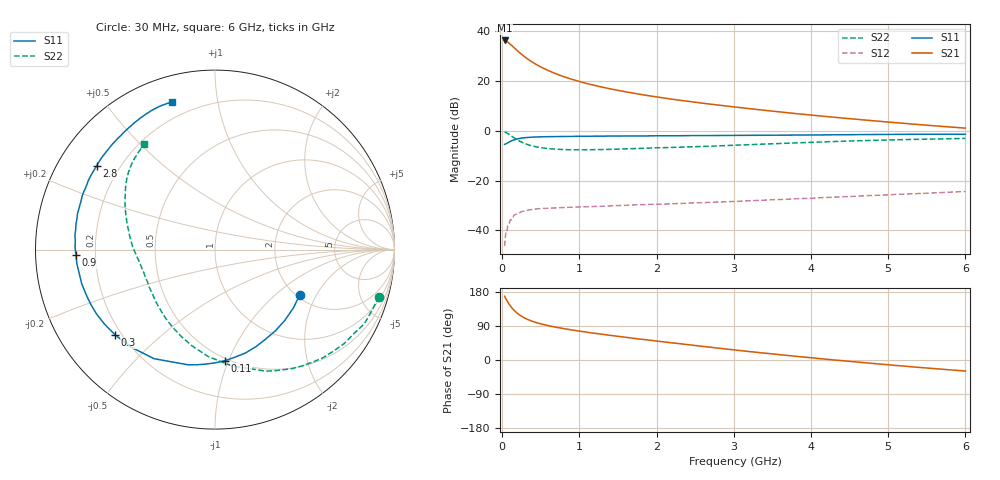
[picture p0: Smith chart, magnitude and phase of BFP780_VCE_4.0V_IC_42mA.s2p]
! Infineon Technologies  Discrete & RF Semiconductors
! BFP780
! VCE =  4.0 V,  IC =  42 mA
! Common Emitter S-Parameters:  Jul 2015
# GHz  S  MA  R  50
!  f  S11  S21  S12  S22
! GHz  MAG  ANG  MAG  ANG  MAG  ANG  MAG  ANG
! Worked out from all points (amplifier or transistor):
!   75 points, 30 MHz to 6 GHz, reference 50 ohm
!   highest |S21| = 36.4 dB at 30 MHz (marker M1)
!   |S21| within 3 dB of that: start of sweep to 156.2 MHz
!   unconditionally stable (mu >= 1): 2.038 GHz to end of sweep
!   at 150 MHz: K = 0.14, MSG = 33.8 dB, |S12| = -33.9 dB
!   at 2.3 GHz: K = 1.09, MAG = 19.0 dB, |S12| = -29.2 dB
!   at 6 GHz: K = 1.25, MAG = 9.7 dB, |S12| = -24.4 dB
!   S11 on the Smith chart (normalised r, x): 30 MHz: 2.07, -1.48; 110 MHz: 0.48, -0.97; 300 MHz: 0.18, -0.36; 900 MHz: 0.13, -0.02; 2.8 GHz: 0.12, +0.31; 6 GHz: 0.12, +0.74
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0.03  0.5352 -28.3  66.04 168.2  0.0048 71.4  0.9497 -16.0
0.05  0.5541 -45.5  63.93 160.4  0.0097 65.2  0.9287 -26.5
0.07  0.5734 -60.7  61.1 153.4  0.0122 62.1  0.8901 -36.0
0.09  0.6006 -73.7  57.83 147.0  0.0137 60.5  0.8519 -45.0
0.11  0.6218 -85.0  54.33 141.2  0.0159 51.6  0.8098 -53.2
0.13  0.6408 -95.0  50.99 136.1  0.0184 51.2  0.7682 -60.7
0.15  0.6592 -103.3  47.71 131.6  0.0201 46.9  0.7334 -67.4
0.2  0.6963 -119.2  40.46 122.4  0.0219 38.0  0.6533 -82.0
0.25  0.7167 -130.7  34.76 115.3  0.0237 34.3  0.5961 -93.8
0.3  0.7317 -139.4  30.15 109.7  0.0249 29.8  0.5502 -103.7
0.4  0.7509 -151.4  23.62 101.4  0.0264 25.2  0.493 -118.6
0.5  0.7593 -159.5  19.3 95.4  0.0274 22.2  0.4597 -129.5
0.7  0.7683 -170.3  14 86.3  0.0283 19.7  0.4273 -144.6
0.9  0.7751 -177.7  10.94 79.3  0.0292 18.4  0.4167 -154.5
1.1  0.7798 176.5  8.945 73.2  0.0298 18.4  0.4166 -161.9
1.5  0.7879 167.5  6.531 62.5  0.0315 18.7  0.4291 -172.0
2.1  0.7989 156.3  4.575 47.6  0.0336 19.9  0.4601 177.5
2.8  0.8085 144.7  3.308 31.3  0.0371 20.7  0.4998 165.9
3.1  0.8137 140.1  2.921 24.6  0.0387 20.9  0.5214 161.1
4.1  0.8306 125.9  2.014 3.9  0.045 20.8  0.596 147.0
5.1  0.8521 114.5  1.465 -14.4  0.0527 17.8  0.6627 134.7
6  0.8568 106.3  1.138 -29.2  0.0605 13.7  0.7064 123.8
